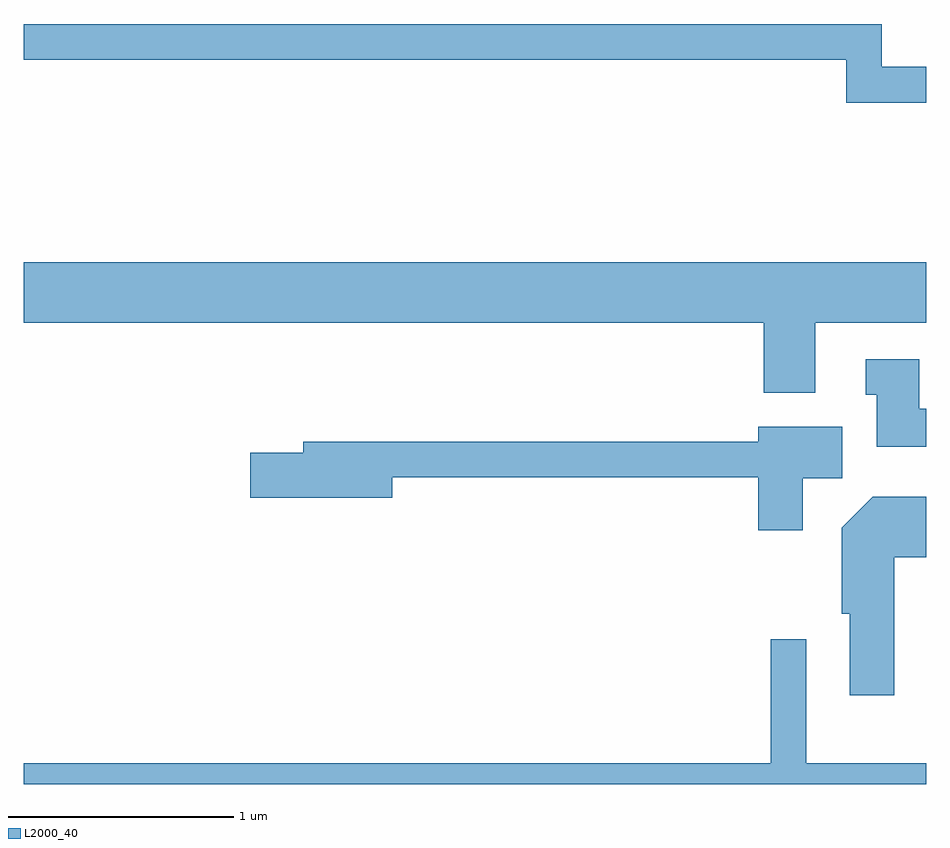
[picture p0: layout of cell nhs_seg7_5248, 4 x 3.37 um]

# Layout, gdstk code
import gdstk
lib = gdstk.Library(unit=1e-6, precision=1e-09)
def P(c, l, *ps):  # polygons
    for p in ps: c.add(gdstk.Polygon(p, *l))
L2000_40 = (2000, 40)

nhs_seg7_5248 = lib.new_cell('nhs_seg7_5248')
P(nhs_seg7_5248, L2000_40, [(349.611,1735.429),(349.414,1735.429),(349.414,1735.619),(345.611,1735.619),(345.611,1735.461),(349.256,1735.461),(349.256,1735.271),(349.611,1735.271)],
  [(349.119,1734.296),(349.611,1734.296),(349.611,1734.564),(345.611,1734.564),(345.611,1734.296),(348.891,1734.296),(348.891,1733.986),(349.119,1733.986)],
  [(349.611,1733.914),(349.579,1733.914),(349.579,1734.134),(349.343,1734.134),(349.343,1733.976),(349.391,1733.976),(349.391,1733.746),(349.611,1733.746)],
  [(349.064,1733.606),(349.239,1733.606),(349.239,1733.834),(348.866,1733.834),(348.866,1733.769),(346.851,1733.769),(346.851,1733.719),(346.616,1733.719),(346.616,1733.521),(347.244,1733.521),(347.244,1733.611),(348.866,1733.611),(348.866,1733.376),(349.064,1733.376)],
  [(349.469,1733.256),(349.611,1733.256),(349.611,1733.524),(349.374,1733.524),(349.236,1733.387),(349.236,1733.006),(349.271,1733.006),(349.271,1732.646),(349.469,1732.646)],
  [(349.611,1732.344),(349.079,1732.344),(349.079,1732.893),(348.921,1732.893),(348.921,1732.344),(345.611,1732.344),(345.611,1732.252),(349.611,1732.252)])

lib.write_gds('nhs_seg7_5248.gds')
